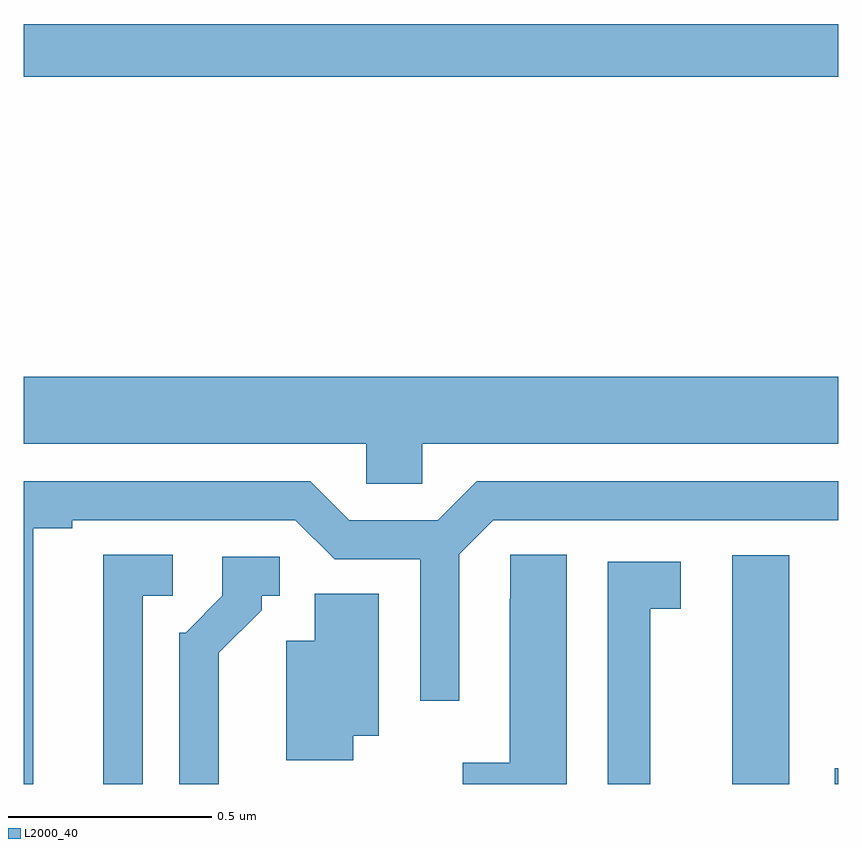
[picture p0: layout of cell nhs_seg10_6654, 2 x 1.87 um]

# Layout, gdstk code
import gdstk
lib = gdstk.Library(unit=1e-6, precision=1e-09)
def R(c, l, rs):  # rectangles x0, y0, x1, y1
    for r in rs: c.add(gdstk.rectangle(r[:2], r[2:], *l))
def P(c, l, *ps):  # polygons
    for p in ps: c.add(gdstk.Polygon(p, *l))
L2000_40 = (2000, 40)

nhs_seg10_6654 = lib.new_cell('nhs_seg10_6654')
R(nhs_seg10_6654, L2000_40, [(195.74,1279.5,195.88,1280.062), (195.992,1279.5,196,1279.539), (194,1281.238,196,1281.367)])
P(nhs_seg10_6654, L2000_40, [(194.979,1280.336),(196,1280.336),(196,1280.5),(194,1280.5),(194,1280.336),(194.841,1280.336),(194.841,1280.238),(194.979,1280.238)],
  [(194.023,1280.128),(194.119,1280.128),(194.119,1280.148),(194.667,1280.148),(194.763,1280.052),(194.973,1280.052),(194.973,1279.704),(195.069,1279.704),(195.069,1280.064),(195.153,1280.148),(196,1280.148),(196,1280.244),(195.113,1280.244),(195.017,1280.148),(194.799,1280.148),(194.703,1280.244),(194,1280.244),(194,1279.5),(194.023,1279.5)],
  [(194.292,1279.962),(194.365,1279.962),(194.365,1280.063),(194.195,1280.063),(194.195,1279.5),(194.292,1279.5)],
  [(195.334,1280.063),(195.195,1280.063),(195.195,1279.955),(195.194,1279.955),(195.194,1279.552),(195.078,1279.552),(195.078,1279.5),(195.334,1279.5)],
  [(194.479,1279.822),(194.584,1279.927),(194.584,1279.962),(194.629,1279.962),(194.629,1280.058),(194.487,1280.058),(194.487,1279.962),(194.397,1279.872),(194.382,1279.872),(194.382,1279.5),(194.479,1279.5)],
  [(195.538,1279.93),(195.613,1279.93),(195.613,1280.046),(195.434,1280.046),(195.434,1279.5),(195.538,1279.5)],
  [(194.809,1279.619),(194.872,1279.619),(194.872,1279.967),(194.714,1279.967),(194.714,1279.852),(194.645,1279.852),(194.645,1279.558),(194.809,1279.558)])

lib.write_gds('nhs_seg10_6654.gds')
